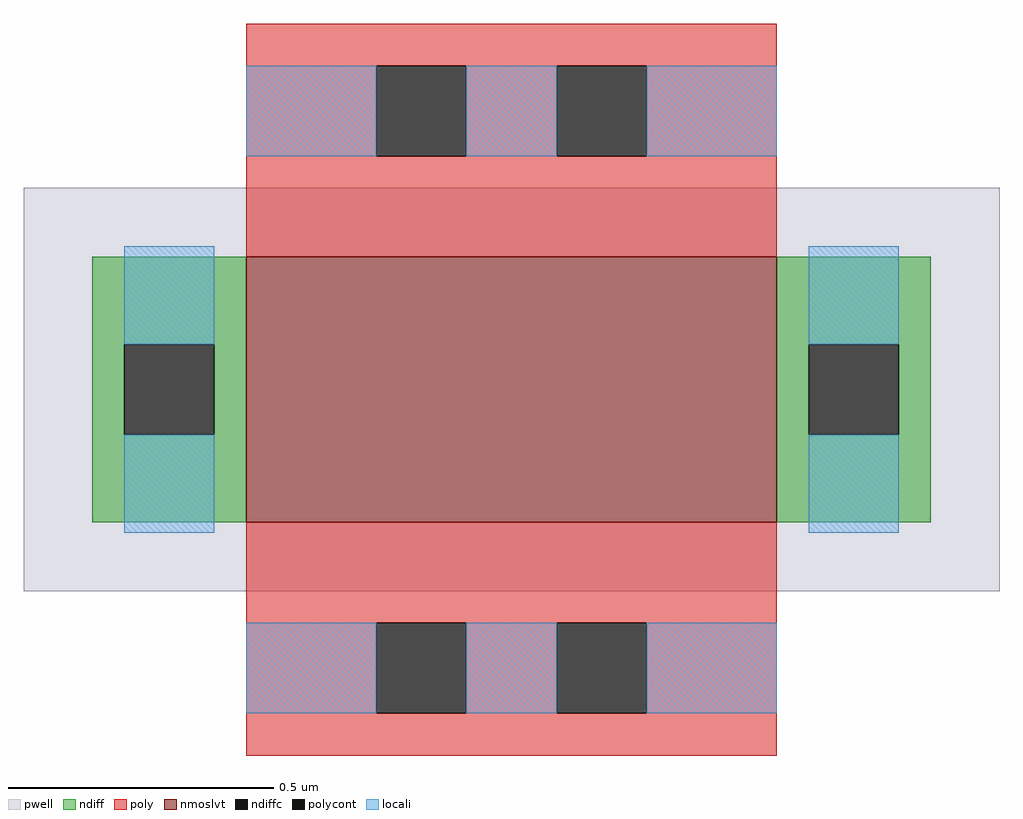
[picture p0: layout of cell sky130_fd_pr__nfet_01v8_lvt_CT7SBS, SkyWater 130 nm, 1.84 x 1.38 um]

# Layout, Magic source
magic
tech sky130A
magscale 1 2
<< pwell >>
rect -184 -76 184 76
<< nmoslvt >>
rect -100 -50 100 50
<< ndiff >>
rect -158 17 -100 50
rect -158 -17 -146 17
rect -112 -17 -100 17
rect -158 -50 -100 -17
rect 100 17 158 50
rect 100 -17 112 17
rect 146 -17 158 17
rect 100 -50 158 -17
<< ndiffc >>
rect -146 -17 -112 17
rect 112 -17 146 17
<< poly >>
rect -100 122 100 138
rect -100 88 -51 122
rect -17 88 17 122
rect 51 88 100 122
rect -100 50 100 88
rect -100 -88 100 -50
rect -100 -122 -51 -88
rect -17 -122 17 -88
rect 51 -122 100 -88
rect -100 -138 100 -122
<< polycont >>
rect -51 88 -17 122
rect 17 88 51 122
rect -51 -122 -17 -88
rect 17 -122 51 -88
<< locali >>
rect -100 88 -51 122
rect -17 88 17 122
rect 51 88 100 122
rect -146 17 -112 54
rect -146 -54 -112 -17
rect 112 17 146 54
rect 112 -54 146 -17
rect -100 -122 -51 -88
rect -17 -122 17 -88
rect 51 -122 100 -88
<< end >>
